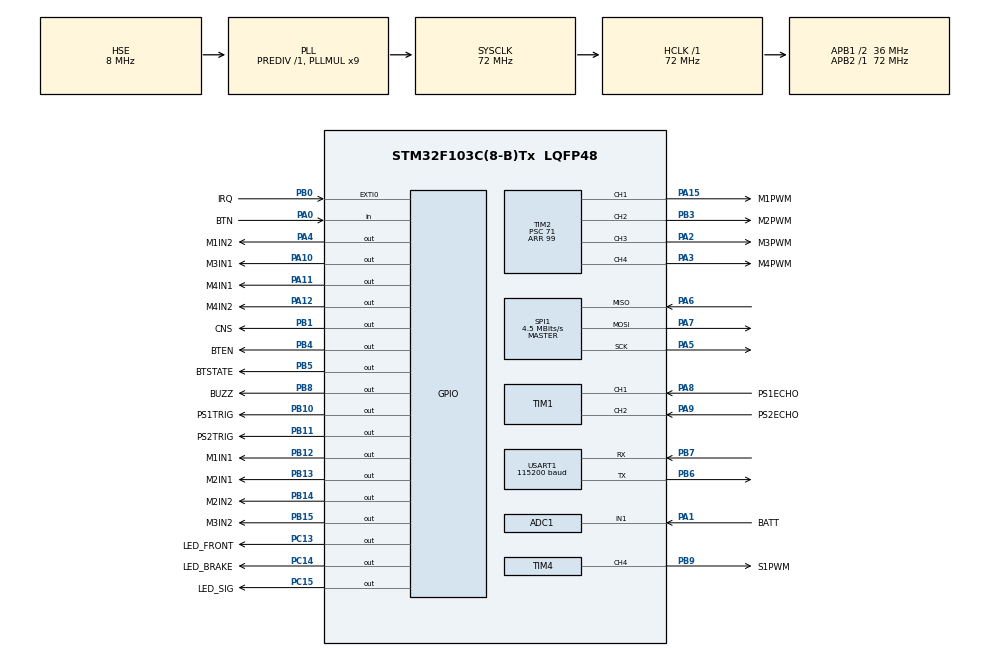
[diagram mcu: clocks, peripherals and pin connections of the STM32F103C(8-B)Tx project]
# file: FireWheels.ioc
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ADC1.Channel-6\#ChannelRegularConversion=ADC_CHANNEL_1
ADC1.NbrOfConversionFlag=1
ADC1.Rank-6\#ChannelRegularConversion=1
ADC1.SamplingTime-6\#ChannelRegularConversion=ADC_SAMPLETIME_1CYCLE_5
ADC1.master=1
FREERTOS.Tasks01=defaultTask,24,128,StartDefaultTask,Default,NULL,Dynamic,NULL,NULL
FREERTOS.configUSE_NEWLIB_REENTRANT=1
Mcu.Family=STM32F1
Mcu.Name=STM32F103C(8-B)Tx
Mcu.Package=LQFP48
NVIC.EXTI0_IRQn=true\:5\:0\:false\:false\:true\:true\:true\:true\:true
NVIC.PriorityGroup=NVIC_PRIORITYGROUP_4
NVIC.TIM3_IRQn=true\:15\:0\:false\:false\:true\:false\:false\:true\:true
NVIC.TimeBase=TIM3_IRQn
NVIC.TimeBaseIP=TIM3
NVIC.USART1_IRQn=true\:5\:0\:false\:false\:true\:true\:true\:true\:true
PA0-WKUP.GPIO_Label=BTN
PA0-WKUP.Signal=GPIO_Input
PA1.GPIO_Label=BATT
PA1.Signal=ADCx_IN1
PA10.GPIO_Label=M3IN1
PA10.Signal=GPIO_Output
PA11.GPIO_Label=M4IN1
PA11.Signal=GPIO_Output
PA12.GPIO_Label=M4IN2
PA12.Signal=GPIO_Output
PA13.Mode=Serial_Wire
PA13.Signal=SYS_JTMS-SWDIO
PA14.Mode=Serial_Wire
PA14.Signal=SYS_JTCK-SWCLK
PA15.GPIO_Label=M1PWM
PA15.Signal=S_TIM2_CH1_ETR
PA2.GPIO_Label=M3PWM
PA2.Signal=S_TIM2_CH3
PA3.GPIO_Label=M4PWM
PA3.Signal=S_TIM2_CH4
PA4.GPIO_Label=M1IN2
PA4.Signal=GPIO_Output
PA5.Mode=Full_Duplex_Master
PA5.Signal=SPI1_SCK
PA6.Mode=Full_Duplex_Master
PA6.Signal=SPI1_MISO
PA7.Mode=Full_Duplex_Master
PA7.Signal=SPI1_MOSI
PA8.GPIO_Label=PS1ECHO
PA8.Signal=S_TIM1_CH1
PA9.GPIO_Label=PS2ECHO
PA9.Signal=S_TIM1_CH2
PB0.GPIO_Label=IRQ
PB0.GPIO_ModeDefaultEXTI=GPIO_MODE_IT_FALLING
PB0.Signal=GPXTI0
PB1.GPIO_Label=CNS
PB1.Signal=GPIO_Output
PB10.GPIO_Label=PS1TRIG
PB10.Signal=GPIO_Output
PB11.GPIO_Label=PS2TRIG
PB11.Signal=GPIO_Output
PB12.GPIO_Label=M1IN1
PB12.Signal=GPIO_Output
PB13.GPIO_Label=M2IN1
PB13.Signal=GPIO_Output
PB14.GPIO_Label=M2IN2
PB14.Signal=GPIO_Output
PB15.GPIO_Label=M3IN2
PB15.Signal=GPIO_Output
PB3.GPIO_Label=M2PWM
PB3.Signal=S_TIM2_CH2
PB4.GPIO_Label=BTEN
PB4.Signal=GPIO_Output
PB5.GPIO_Label=BTSTATE
PB5.Signal=GPIO_Output
PB6.Mode=Asynchronous
PB6.Signal=USART1_TX
PB7.Mode=Asynchronous
PB7.Signal=USART1_RX
PB8.GPIO_Label=BUZZ
PB8.Signal=GPIO_Output
PB9.GPIO_Label=S1PWM
PB9.Signal=S_TIM4_CH4
PC13-TAMPER-RTC.GPIO_Label=LED_FRONT
PC13-TAMPER-RTC.Signal=GPIO_Output
PC14-OSC32_IN.GPIO_Label=LED_BRAKE
PC14-OSC32_IN.Signal=GPIO_Output
PC15-OSC32_OUT.GPIO_Label=LED_SIG
PC15-OSC32_OUT.Signal=GPIO_Output
PD0-OSC_IN.Mode=HSE-External-Oscillator
PD0-OSC_IN.Signal=RCC_OSC_IN
PD1-OSC_OUT.Mode=HSE-External-Oscillator
PD1-OSC_OUT.Signal=RCC_OSC_OUT
ProjectManager.HeapSize=0x200
ProjectManager.StackSize=0x400
ProjectManager.TargetToolchain=STM32CubeIDE
RCC.ADCPresc=RCC_ADCPCLK2_DIV6
RCC.AHBFreq_Value=72000000
RCC.APB1CLKDivider=RCC_HCLK_DIV2
RCC.APB1Freq_Value=36000000
RCC.APB1TimFreq_Value=72000000
RCC.APB2Freq_Value=72000000
RCC.APB2TimFreq_Value=72000000
RCC.HCLKFreq_Value=72000000
RCC.PLLMUL=RCC_PLL_MUL9
RCC.PLLSourceVirtual=RCC_PLLSOURCE_HSE
RCC.SYSCLKFreq_VALUE=72000000
RCC.SYSCLKSource=RCC_SYSCLKSOURCE_PLLCLK
RCC.USBFreq_Value=72000000
SH.ADCx_IN1.0=ADC1_IN1,IN1
SH.S_TIM1_CH1.0=TIM1_CH1,Input_Capture1_from_TI1
SH.S_TIM1_CH2.0=TIM1_CH2,Input_Capture2_from_TI2
SH.S_TIM2_CH1_ETR.0=TIM2_CH1,PWM Generation1 CH1
SH.S_TIM2_CH2.0=TIM2_CH2,PWM Generation2 CH2
SH.S_TIM2_CH3.0=TIM2_CH3,PWM Generation3 CH3
SH.S_TIM2_CH4.0=TIM2_CH4,PWM Generation4 CH4
SH.S_TIM4_CH4.0=TIM4_CH4,PWM Generation4 CH4
SPI1.BaudRatePrescaler=SPI_BAUDRATEPRESCALER_16
SPI1.CalculateBaudRate=4.5 MBits/s
SPI1.Direction=SPI_DIRECTION_2LINES
SPI1.Mode=SPI_MODE_MASTER
SPI1.VirtualType=VM_MASTER
TIM1.Channel-Input_Capture1_from_TI1=TIM_CHANNEL_1
TIM1.Channel-Input_Capture2_from_TI2=TIM_CHANNEL_2
TIM2.Channel-PWM\ Generation1\ CH1=TIM_CHANNEL_1
TIM2.Channel-PWM\ Generation2\ CH2=TIM_CHANNEL_2
TIM2.Channel-PWM\ Generation3\ CH3=TIM_CHANNEL_3
TIM2.Channel-PWM\ Generation4\ CH4=TIM_CHANNEL_4
TIM2.Period=99
TIM2.Prescaler=71
TIM4.Channel-PWM\ Generation4\ CH4=TIM_CHANNEL_4
TIM4.OCFastMode_PWM-PWM\ Generation4\ CH4=TIM_OCFAST_ENABLE
TIM4.Period=19999
TIM4.Prescaler=71
TIM4.Pulse-PWM\ Generation4\ CH4=0
USART1.BaudRate=115200
USART1.VirtualMode=VM_ASYNC
VP_FREERTOS_VS_CMSIS_V2.Mode=CMSIS_V2
VP_SYS_VS_tim3.Mode=TIM3
VP_TIM1_VS_ClockSourceINT.Mode=Internal
board=custom

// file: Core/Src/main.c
/* USER CODE BEGIN Header */
/**
  ******************************************************************************
  * @file           : main.c
  * @brief          : Main program body
  ******************************************************************************
  * @attention
  *
  * Copyright (c) 2025 STMicroelectronics.
  * All rights reserved.
  *
  * This software is licensed under terms that can be found in the LICENSE file
  * in the root directory of this software component.
  * If no LICENSE file comes with this software, it is provided AS-IS.
  *
  ******************************************************************************
  */
/* USER CODE END Header */
#include "main.h"
#include "cmsis_os.h"
#include "adc.h"
#include "spi.h"
#include "tim.h"
#include "usart.h"
#include "gpio.h"

/* USER CODE BEGIN Includes */
#include "nrf24l01p.h"
#include <stdio.h>
#include <stdlib.h>
#include <string.h>

/* USER CODE END Includes */

/* USER CODE BEGIN PTD */
typedef enum {
    CONTROL_BLUETOOTH,
    CONTROL_NRF24L01
} ControlMode_t;

typedef struct {
    int8_t left_x;    // Bajt 1
    int8_t left_y;    // Bajt 2
    int8_t right_x;   // Bajt 3
    int8_t right_y;   // Bajt 4
    uint16_t buttons; // Bajty 5-6
} ControllerData;
/* USER CODE END PTD */

/* USER CODE BEGIN PD */
#define BUZZ_GPIO_Port GPIOB
#define BUZZ_Pin GPIO_PIN_8
#define BTSTATE_GPIO_Port GPIOB
#define BTSTATE_Pin GPIO_PIN_5
#define M1IN1_GPIO_Port GPIOB
#define M1IN1_Pin GPIO_PIN_12
#define M1IN2_GPIO_Port GPIOA
#define M1IN2_Pin GPIO_PIN_4
#define M2IN2_GPIO_Port GPIOB
#define M2IN2_Pin GPIO_PIN_14
#define M3IN1_GPIO_Port GPIOA
#define M3IN1_Pin GPIO_PIN_10
#define M3IN2_GPIO_Port GPIOB
#define M3IN2_Pin GPIO_PIN_15
#define M4IN1_GPIO_Port GPIOA
#define M4IN1_Pin GPIO_PIN_11
#define M4IN2_GPIO_Port GPIOA
#define M4IN2_Pin GPIO_PIN_12
#define CNS_GPIO_Port GPIOB
#define CNS_Pin GPIO_PIN_1
#define IRQ_GPIO_Port GPIOB
#define IRQ_Pin GPIO_PIN_0
#define PS1TRIG_GPIO_Port GPIOB
#define PS1TRIG_Pin GPIO_PIN_11
#define LED_SIG_GPIO_Port GPIOC
#define LED_SIG_Pin GPIO_PIN_15
#define LED_BRAKE_GPIO_Port GPIOC
#define LED_BRAKE_Pin GPIO_PIN_14
#define LED_FRONT_GPIO_Port GPIOC
#define LED_FRONT_Pin GPIO_PIN_13
#define BTN_GPIO_Port GPIOA
#define BTN_Pin GPIO_PIN_0

#define USE_ULTRASONIC 0

#define NRF24L01P_SPI (&hspi1)
#define NRF24L01P_SPI_CS_PIN_PORT GPIOB
#define NRF24L01P_SPI_CS_PIN_NUMBER GPIO_PIN_1
#define NRF24L01P_IRQ_PIN_PORT GPIOB
#define NRF24L01P_IRQ_PIN_NUMBER GPIO_PIN_0
#define NRF24L01P_PAYLOAD_LENGTH 6

/* USER CODE END PD */

/* USER CODE BEGIN PV */
ControlMode_t currentMode = CONTROL_NRF24L01;
osMessageQueueId_t controlQueue;
uint8_t rx_byte;
uint8_t bt_rx_buffer[6];
uint8_t bt_rx_index = 0;
volatile uint32_t lastDataTime = 0; // Czas ostatniego odebranego pakietu
ControllerData controlData = {0}; // Globalna struktura przechowująca dane sterujące

#if USE_ULTRASONIC
volatile uint32_t echo_start, echo_end;
volatile uint8_t echo_flag = 0;
#endif

/* USER CODE END PV */

void SystemClock_Config(void);
void MX_FREERTOS_Init(void);
/* USER CODE BEGIN PFP */
void SystemClock_Config(void);
void MX_FREERTOS_Init(void);
void driveMotor(GPIO_TypeDef* IN1_Port, uint16_t IN1_Pin, GPIO_TypeDef* IN2_Port, uint16_t IN2_Pin, TIM_HandleTypeDef* htim, uint32_t Channel, int speed_percent);
void SG90_SetAngle(uint8_t angle);
float Battery_GetVoltage(void);
void LED_Front(uint8_t on);
void LED_Brake(uint8_t on);
void LED_Signal(uint8_t on);
uint8_t Button_IsPressed(void);
void ControlTask(void *pvParameters);
void BatteryTask(void *pvParameters);
void ButtonTask(void *pvParameters);
void StatusTask(void *pvParameters);
#if USE_ULTRASONIC
void UltrasonicTask(void *pvParameters);
#endif
/* USER CODE END PFP */

/* USER CODE BEGIN 0 */
extern TIM_HandleTypeDef htim2;
extern TIM_HandleTypeDef htim4;
extern TIM_HandleTypeDef htim1;
extern SPI_HandleTypeDef hspi1;
extern UART_HandleTypeDef huart1;
extern ADC_HandleTypeDef hadc1;

/* USER CODE END 0 */

int main(void)
{

  /* MCU Configuration--------------------------------------------------------*/

  /* Reset of all peripherals, Initializes the Flash interface and the Systick. */
  HAL_Init();

  /* Configure the system clock */
  SystemClock_Config();

  /* Initialize all configured peripherals */
  MX_GPIO_Init();
  MX_SPI1_Init();
  MX_TIM1_Init();
  MX_TIM2_Init();
  MX_TIM4_Init();
  MX_USART1_UART_Init();
  MX_ADC1_Init();
  /* USER CODE BEGIN 2 */
#if USE_ULTRASONIC
  MX_TIM1_Init();
#endif
  nrf24l01p_rx_init(2402, 0);

  controlQueue = osMessageQueueNew(30, sizeof(ControllerData), NULL);
    const osThreadAttr_t controlTask_attr = {
        .name = "ControlTask",
        .priority = osPriorityHigh,
        .stack_size = 1024
    };
    osThreadNew(ControlTask, NULL, &controlTask_attr);
    osThreadNew(ButtonTask, NULL, NULL);
    osThreadNew(StatusTask, NULL, NULL);
    #if USE_ULTRASONIC
      osThreadNew(UltrasonicTask, NULL, NULL);
      HAL_TIM_IC_Start_IT(&htim1, TIM_CHANNEL_1);
    #endif

    HAL_TIM_PWM_Start(&htim2, TIM_CHANNEL_1);
    HAL_TIM_PWM_Start(&htim2, TIM_CHANNEL_2);
    HAL_TIM_PWM_Start(&htim2, TIM_CHANNEL_3);
    HAL_TIM_PWM_Start(&htim2, TIM_CHANNEL_4);
    HAL_TIM_PWM_Start(&htim4, TIM_CHANNEL_4);

    driveMotor(M1IN1_GPIO_Port, M1IN1_Pin, M1IN2_GPIO_Port, M1IN2_Pin, &htim2, TIM_CHANNEL_1, 0);
    driveMotor(M2IN1_GPIO_Port, M2IN1_Pin, M2IN2_GPIO_Port, M2IN2_Pin, &htim2, TIM_CHANNEL_2, 0);
    driveMotor(M3IN1_GPIO_Port, M3IN1_Pin, M3IN2_GPIO_Port, M3IN2_Pin, &htim2, TIM_CHANNEL_3, 0);
    driveMotor(M4IN1_GPIO_Port, M4IN1_Pin, M4IN2_GPIO_Port, M4IN2_Pin, &htim2, TIM_CHANNEL_4, 0);
    SG90_SetAngle(90);
  /* USER CODE END 2 */

  /* Init scheduler */
  osKernelInitialize();

  /* Call init function for freertos objects (in cmsis_os2.c) */
  MX_FREERTOS_Init();

  /* Start scheduler */
  osKernelStart();

  /* We should never get here as control is now taken by the scheduler */

  /* Infinite loop */
  while (1)
  {

  }
}

void SystemClock_Config(void)
{
  RCC_OscInitTypeDef RCC_OscInitStruct = {0};
  RCC_ClkInitTypeDef RCC_ClkInitStruct = {0};
  RCC_PeriphCLKInitTypeDef PeriphClkInit = {0};

  /** Initializes the RCC Oscillators according to the specified parameters
  * in the RCC_OscInitTypeDef structure.
  */
  RCC_OscInitStruct.OscillatorType = RCC_OSCILLATORTYPE_HSE;
  RCC_OscInitStruct.HSEState = RCC_HSE_ON;
  RCC_OscInitStruct.HSEPredivValue = RCC_HSE_PREDIV_DIV1;
  RCC_OscInitStruct.HSIState = RCC_HSI_ON;
  RCC_OscInitStruct.PLL.PLLState = RCC_PLL_ON;
  RCC_OscInitStruct.PLL.PLLSource = RCC_PLLSOURCE_HSE;
  RCC_OscInitStruct.PLL.PLLMUL = RCC_PLL_MUL9;
  if (HAL_RCC_OscConfig(&RCC_OscInitStruct) != HAL_OK)
  {
    Error_Handler();
  }

  /** Initializes the CPU, AHB and APB buses clocks
  */
  RCC_ClkInitStruct.ClockType = RCC_CLOCKTYPE_HCLK|RCC_CLOCKTYPE_SYSCLK
                              |RCC_CLOCKTYPE_PCLK1|RCC_CLOCKTYPE_PCLK2;
  RCC_ClkInitStruct.SYSCLKSource = RCC_SYSCLKSOURCE_PLLCLK;
  RCC_ClkInitStruct.AHBCLKDivider = RCC_SYSCLK_DIV1;
  RCC_ClkInitStruct.APB1CLKDivider = RCC_HCLK_DIV2;
  RCC_ClkInitStruct.APB2CLKDivider = RCC_HCLK_DIV1;

  if (HAL_RCC_ClockConfig(&RCC_ClkInitStruct, FLASH_LATENCY_2) != HAL_OK)
  {
    Error_Handler();
  }
  PeriphClkInit.PeriphClockSelection = RCC_PERIPHCLK_ADC;
  PeriphClkInit.AdcClockSelection = RCC_ADCPCLK2_DIV6;
  if (HAL_RCCEx_PeriphCLKConfig(&PeriphClkInit) != HAL_OK)
  {
    Error_Handler();
  }
}

/* USER CODE BEGIN 4 */
void ControlTask(void *pvParameters) {
    ControllerData data;
    while (1) {
         //Sprawdź, czy minęło 100 ms od ostatniego pakietu
        if (HAL_GetTick() - lastDataTime > 100) {
            // Zeruj controlData i zatrzymaj silniki
            controlData.left_x = 0;
            controlData.left_y = 0;
            controlData.right_x = 0;
            controlData.right_y = 0;
            controlData.buttons = 0;
            SG90_SetAngle(90); // Ustaw serwo na pozycję neutralną
            driveMotor(M1IN1_GPIO_Port, M1IN1_Pin, M1IN2_GPIO_Port, M1IN2_Pin, &htim2, TIM_CHANNEL_1, 0);
            driveMotor(M2IN1_GPIO_Port, M2IN1_Pin, M2IN2_GPIO_Port, M2IN2_Pin, &htim2, TIM_CHANNEL_2, 0);
            driveMotor(M3IN1_GPIO_Port, M3IN1_Pin, M3IN2_GPIO_Port, M3IN2_Pin, &htim2, TIM_CHANNEL_3, 0);
            driveMotor(M4IN1_GPIO_Port, M4IN1_Pin, M4IN2_GPIO_Port, M4IN2_Pin, &htim2, TIM_CHANNEL_4, 0);
            LED_Brake(1); // Włącz światła stopu
            LED_Front(0); // Wyłącz światła przednie
            HAL_GPIO_WritePin(BUZZ_GPIO_Port, BUZZ_Pin, GPIO_PIN_RESET); // Wyłącz buzzer
        }

        // Czekaj na nowy pakiet z kolejki
        if (osMessageQueueGet(controlQueue, &data, NULL, 0) == osOK) {
        	if(currentMode == CONTROL_NRF24L01){
        		controlData = data;
				lastDataTime = HAL_GetTick();

				// Sterowanie robotem
				int speed = controlData.left_y;
				int angle = (controlData.right_x + 100) * 180 / 200;

				SG90_SetAngle((uint8_t)angle);
				driveMotor(M1IN1_GPIO_Port, M1IN1_Pin, M1IN2_GPIO_Port, M1IN2_Pin, &htim2, TIM_CHANNEL_1, speed * -1);
				driveMotor(M2IN1_GPIO_Port, M2IN1_Pin, M2IN2_GPIO_Port, M2IN2_Pin, &htim2, TIM_CHANNEL_2, speed * -1);
				driveMotor(M3IN1_GPIO_Port, M3IN1_Pin, M3IN2_GPIO_Port, M3IN2_Pin, &htim2, TIM_CHANNEL_3, speed);
				driveMotor(M4IN1_GPIO_Port, M4IN1_Pin, M4IN2_GPIO_Port, M4IN2_Pin, &htim2, TIM_CHANNEL_4, speed);

				LED_Brake(speed <= 0 ? 1 : 0);
				LED_Front(controlData.buttons & 0x01 ? 1 : 0);
				HAL_GPIO_WritePin(BUZZ_GPIO_Port, BUZZ_Pin, (controlData.buttons & 0x02) ? GPIO_PIN_SET : GPIO_PIN_RESET);
        	}
        	else{
        		controlData = data;
				lastDataTime = HAL_GetTick();

				// Sterowanie robotem
				int speed = controlData.left_x;
				int angle = (controlData.left_y + 100) * 180 / 200;

				SG90_SetAngle((uint8_t)angle);
				driveMotor(M1IN1_GPIO_Port, M1IN1_Pin, M1IN2_GPIO_Port, M1IN2_Pin, &htim2, TIM_CHANNEL_1, speed * -1);
				driveMotor(M2IN1_GPIO_Port, M2IN1_Pin, M2IN2_GPIO_Port, M2IN2_Pin, &htim2, TIM_CHANNEL_2, speed * -1);
				driveMotor(M3IN1_GPIO_Port, M3IN1_Pin, M3IN2_GPIO_Port, M3IN2_Pin, &htim2, TIM_CHANNEL_3, speed);
				driveMotor(M4IN1_GPIO_Port, M4IN1_Pin, M4IN2_GPIO_Port, M4IN2_Pin, &htim2, TIM_CHANNEL_4, speed);

				LED_Brake(speed <= 0 ? 1 : 0);
				LED_Front(controlData.buttons & 0x01 ? 1 : 0);
				HAL_GPIO_WritePin(BUZZ_GPIO_Port, BUZZ_Pin, (controlData.buttons & 0x02) ? GPIO_PIN_SET : GPIO_PIN_RESET);
        	}

            // Aktualizuj controlData

        }

        osDelay(10); // Krótkie opóźnienie, aby nie obciążać procesora
    }
}

void sendCommand(const char* cmd)
{
  HAL_UART_Transmit(&huart1, (uint8_t*)cmd, strlen(cmd), HAL_MAX_DELAY);
}

void BatteryTask(void *pvParameters) {
    while (1) {
        float voltage = Battery_GetVoltage();
        if (voltage < 2.0f) {
            for (int i = 0; i < 3; i++) {
                HAL_GPIO_WritePin(BUZZ_GPIO_Port, BUZZ_Pin, GPIO_PIN_SET);
                osDelay(100);
                HAL_GPIO_WritePin(BUZZ_GPIO_Port, BUZZ_Pin, GPIO_PIN_RESET);
                osDelay(100);
            }
        }
        osDelay(5000);
    }
}

void ButtonTask(void *pvParameters) {
    while (1) {
        if (Button_IsPressed()) {
            osDelay(20);
            if (Button_IsPressed()) {
                if (currentMode == CONTROL_BLUETOOTH) {
                    currentMode = CONTROL_NRF24L01;
                    HAL_NVIC_EnableIRQ(EXTI0_IRQn);
                    HAL_UART_AbortReceive_IT(&huart1);
                } else {
                    currentMode = CONTROL_BLUETOOTH;
                    HAL_NVIC_DisableIRQ(EXTI0_IRQn);
                    HAL_UART_Receive_IT(&huart1, &rx_byte, 1);
                }
                HAL_GPIO_WritePin(BUZZ_GPIO_Port, BUZZ_Pin, GPIO_PIN_SET);
                osDelay(200);
                HAL_GPIO_WritePin(BUZZ_GPIO_Port, BUZZ_Pin, GPIO_PIN_RESET);
            }
        }
        osDelay(10);
    }
}

void StatusTask(void *pvParameters) {
    while (1) {
        if (currentMode == CONTROL_BLUETOOTH) {
            LED_Signal(1);
            osDelay(500);
            LED_Signal(0);
            osDelay(500);
        } else if (currentMode == CONTROL_NRF24L01) {
            LED_Signal(1);
            osDelay(1000);
        }
        osDelay(10);
    }
}

#if USE_ULTRASONIC
void UltrasonicTask(void *pvParameters) {
    while (1) {
        HAL_GPIO_WritePin(PS1TRIG_GPIO_Port, PS1TRIG_Pin, GPIO_PIN_SET);
        HAL_Delay(1);
        HAL_GPIO_WritePin(PS1TRIG_GPIO_Port, PS1TRIG_Pin, GPIO_PIN_RESET);

        echo_flag = 0;
        while (!echo_flag) {
            osDelay(10);
        }

        uint32_t time_us = echo_end - echo_start;
        float distance = time_us / 58.0f;

        if (distance < 20.0f) {
            // Możesz dodać akcję, np. zatrzymanie pojazdu
        }

        osDelay(100);
    }
}

void HAL_TIM_IC_CaptureCallback(TIM_HandleTypeDef *htim) {
    if (htim == &htim1 && htim->Channel == HAL_TIM_ACTIVE_CHANNEL_1) {
        if (HAL_GPIO_ReadPin(GPIOA, GPIO_PIN_8) == GPIO_PIN_SET) {
            echo_start = HAL_TIM_ReadCapturedValue(htim, TIM_CHANNEL_1);
        } else {
            echo_end = HAL_TIM_ReadCapturedValue(htim, TIM_CHANNEL_1);
            echo_flag = 1;
        }
    }
}
#endif

void HAL_GPIO_EXTI_Callback(uint16_t GPIO_Pin) {
    if (GPIO_Pin == IRQ_Pin && currentMode == CONTROL_NRF24L01) {
        ControllerData data;
        nrf24l01p_rx_receive((uint8_t*)&data);

        if (osMessageQueueGetSpace(controlQueue) == 0) {
            ControllerData dummy;
            osMessageQueueGet(controlQueue, &dummy, NULL, 0);
        }

        lastDataTime = HAL_GetTick();
        osMessageQueuePut(controlQueue, &data, 0, 0);
    }
}

void HAL_UART_RxCpltCallback(UART_HandleTypeDef *huart) {
    if (huart == &huart1 && currentMode == CONTROL_BLUETOOTH) {
        bt_rx_buffer[bt_rx_index++] = rx_byte;
        if (bt_rx_index >= 6) {
            ControllerData data;
            memcpy(&data, bt_rx_buffer, 6);
            lastDataTime = HAL_GetTick();
            osMessageQueuePut(controlQueue, &data, 0, 0);
            bt_rx_index = 0;
        }
        if(HAL_UART_Receive_IT(&huart1, &rx_byte, 1) == HAL_OK){
        	LED_Front(1);
        }
        else{
        	LED_Brake(1);
        };
    }
}

void driveMotor(GPIO_TypeDef* IN1_Port, uint16_t IN1_Pin, GPIO_TypeDef* IN2_Port, uint16_t IN2_Pin, TIM_HandleTypeDef* htim, uint32_t Channel, int speed_percent) {
    if (speed_percent > 0) {
        HAL_GPIO_WritePin(IN1_Port, IN1_Pin, GPIO_PIN_SET);
        HAL_GPIO_WritePin(IN2_Port, IN2_Pin, GPIO_PIN_RESET);
    } else if (speed_percent < 0) {
        HAL_GPIO_WritePin(IN1_Port, IN1_Pin, GPIO_PIN_RESET);
        HAL_GPIO_WritePin(IN2_Port, IN2_Pin, GPIO_PIN_SET);
    } else {
        HAL_GPIO_WritePin(IN1_Port, IN1_Pin, GPIO_PIN_RESET);
        HAL_GPIO_WritePin(IN2_Port, IN2_Pin, GPIO_PIN_RESET);
    }
    if (speed_percent > 100) {
        speed_percent = 100;
    }
    if (speed_percent < -100) {
        speed_percent = -100;
    }
    __HAL_TIM_SET_COMPARE(htim, Channel, abs(speed_percent));
}

void SG90_SetAngle(uint8_t angle) {
    uint32_t ccr_value = 500 + (angle * 2000 / 180);
    __HAL_TIM_SET_COMPARE(&htim4, TIM_CHANNEL_4, ccr_value);
}

float Battery_GetVoltage(void) {
    HAL_ADC_Start(&hadc1);
    HAL_ADC_PollForConversion(&hadc1, 10);
    uint32_t raw = HAL_ADC_GetValue(&hadc1);
    return ((float)raw / 4095.0f) * 3.3f * 3;
}

void LED_Front(uint8_t on) {
    HAL_GPIO_WritePin(LED_FRONT_GPIO_Port, LED_FRONT_Pin, on ? GPIO_PIN_SET : GPIO_PIN_RESET);
}

void LED_Brake(uint8_t on) {
    HAL_GPIO_WritePin(LED_BRAKE_GPIO_Port, LED_BRAKE_Pin, on ? GPIO_PIN_SET : GPIO_PIN_RESET);
}

void LED_Signal(uint8_t on) {
    HAL_GPIO_WritePin(LED_SIG_GPIO_Port, LED_SIG_Pin, on ? GPIO_PIN_SET : GPIO_PIN_RESET);
}

uint8_t Button_IsPressed(void) {
    return HAL_GPIO_ReadPin(BTN_GPIO_Port, BTN_Pin) == GPIO_PIN_RESET;
}
/* USER CODE END 4 */

void HAL_TIM_PeriodElapsedCallback(TIM_HandleTypeDef *htim)
{
  if (htim->Instance == TIM3)
  {
    HAL_IncTick();
  }
}

void Error_Handler(void)
{
  __disable_irq();
  while (1)
  {
  }
}
